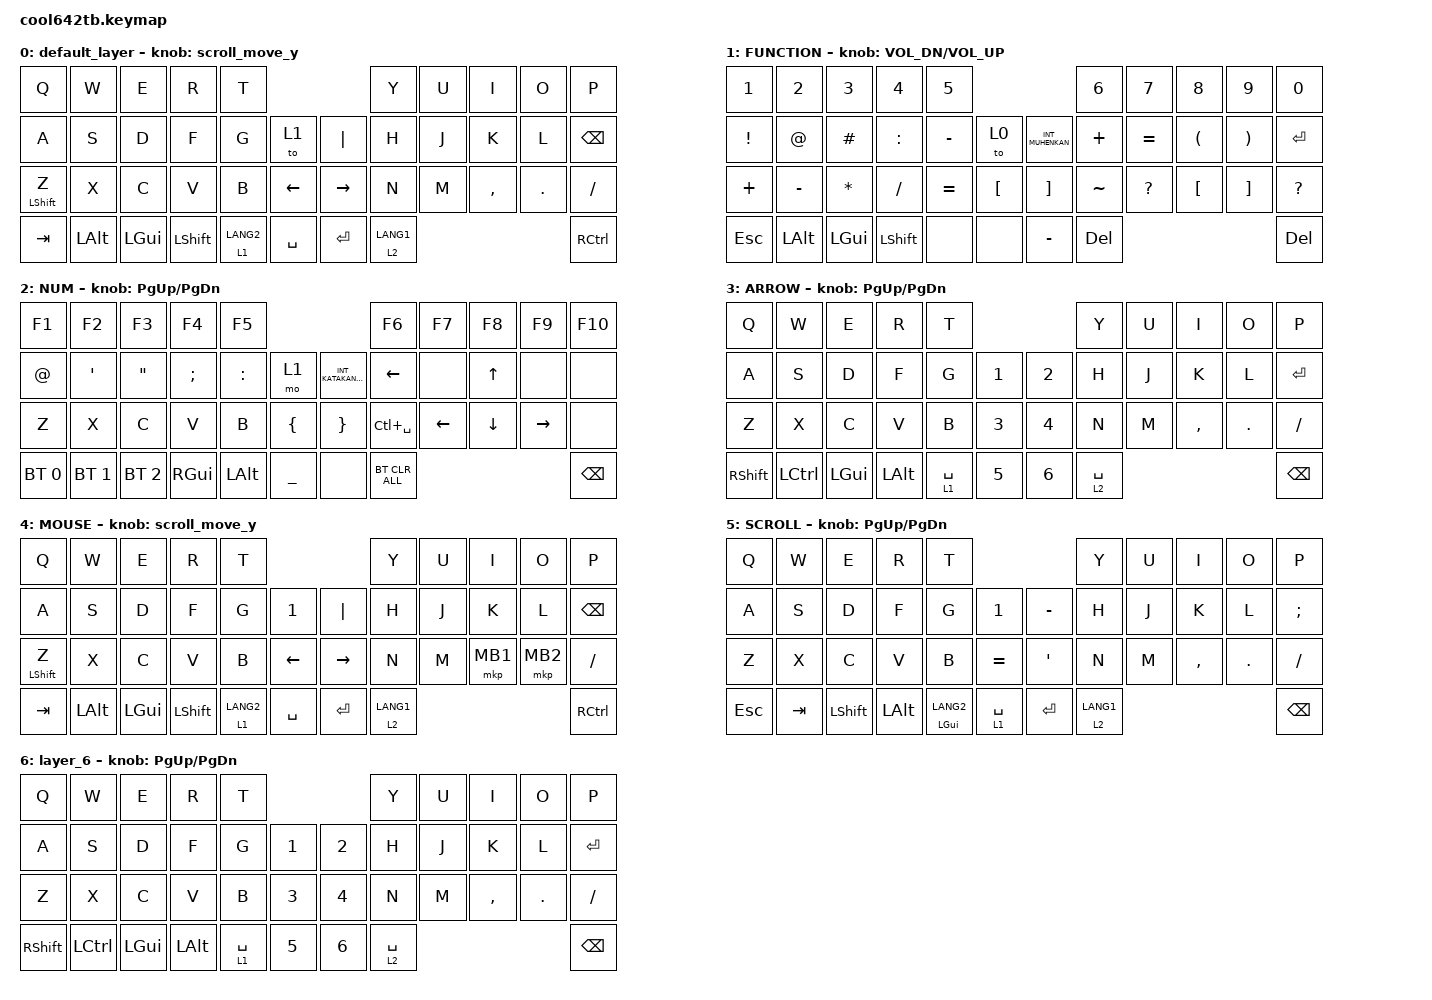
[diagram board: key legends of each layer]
#include <behaviors.dtsi>
#include <dt-bindings/zmk/bt.h>
#include <dt-bindings/zmk/keys.h>
#include <dt-bindings/zmk/pointing.h>

#define ZMK_MOUSE_DEFAULT_SCRL_VAL 100
#define MOUSE 4
#define SCROLL 5
#define NUM 6

&mt {
    flavor = "balanced";
    quick-tap-ms = <0>;
};

/ {
    combos {
        compatible = "zmk,combos";

        comb1 {
            bindings = <&kp TAB>;
            key-positions = <11 10>;
        };

        comb2 {
            bindings = <&kp LS(ESCAPE)>;
            key-positions = <0 1>;
        };

        comb3 {
            bindings = <&kp CAPSLOCK>;
            key-positions = <22 23>;
        };

        comb4 {
            bindings = <&kp BACKSPACE>;
            key-positions = <9 8>;
        };

        comb5 {
            bindings = <&bt BT_CLR_ALL>;
            key-positions = <9 8>;
            timeout-ms = <0>;
            layers = <2>;
        };

        MS_BTN1_ {
            bindings = <&mkp MB1>;
            key-positions = <38 39>;
        };

        MS_BTN2_ {
            bindings = <&mkp MB2>;
            key-positions = <38 37>;
        };
    };

    macros {
        to_layer_0: to_layer_0 {
            compatible = "zmk,behavior-macro-one-param";
            #binding-cells = <1>;
            bindings = <&to 0 &macro_param_1to1 &kp MACRO_PLACEHOLDER>;
            label = "TO_LAYER_0";
        };
    };

    behaviors {
        lt_to_layer_0: lt_to_layer_0 {
            compatible = "zmk,behavior-hold-tap";
            label = "LAYER_TAP_TO_0";
            bindings = <&mo>, <&to_layer_0>;

            #binding-cells = <2>;
            tapping-term-ms = <200>;
        };

        scroll_up_down: behavior_sensor_rotate_mouse_wheel_up_down {
            compatible = "zmk,behavior-sensor-rotate";
            #sensor-binding-cells = <0>;
            bindings = <&msc SCRL_UP>, <&msc SCRL_DOWN>;

            tap-ms = <20>;
        };
    };

    // エンコーダー：キー

    rot_kp: sensor_rotate_kp {
        compatible = "zmk,behavior-sensor-rotate-var";
        #sensor-binding-cells = <2>;
        bindings = <&kp>, <&kp>;
    };

    // エンコーダー：マウススクロール 

    rot_msc: sensor_rotate_msc {
        compatible = "zmk,behavior-sensor-rotate-var";
        #sensor-binding-cells = <2>;
        tap-ms = <20>;
        bindings = <&msc>, <&msc>;
    };

    // エンコーダー：マウススクロール(MOVE_Y)

    scroll_move_y: sensor_rotate_msc_for_move_y {
        compatible = "zmk,behavior-sensor-rotate";
        #sensor-binding-cells = <0>;
        bindings = <&msc MOVE_Y(25)>, <&msc MOVE_Y(-25)>;

        // tap-ms下限メモ Yの値で可変: Y(15) <81>, Y(20) <65>, Y(25) <49>

        tap-ms = <50>;
    };

    // エンコーダー：マウススクロール(MOVE_X)

    scroll_move_x: sensor_rotate_msc_for_move_x {
        compatible = "zmk,behavior-sensor-rotate";
        #sensor-binding-cells = <0>;
        bindings = <&msc MOVE_X(25)>, <&msc MOVE_X(-25)>;

        // tap-ms下限メモ Xの値で可変: X(15) <81>, X(20) <65>, X(25) <49>

        tap-ms = <50>;
    };

    keymap {
        compatible = "zmk,keymap";

        default_layer {
            bindings = <
&kp Q             &kp W         &kp E         &kp R           &kp T                                         &kp Y        &kp U  &kp I      &kp O       &kp P
&kp A             &kp S         &kp D         &kp F           &kp G        &to 1           &kp PIPE         &kp H        &kp J  &kp K      &kp L       &kp BACKSPACE
&mt LEFT_SHIFT Z  &kp X         &kp C         &kp V           &kp B        &kp LEFT_ARROW  &kp RIGHT_ARROW  &kp N        &kp M  &kp COMMA  &kp PERIOD  &kp SLASH
&kp TAB           &kp LEFT_ALT  &kp LEFT_GUI  &kp LEFT_SHIFT  &lt 1 LANG2  &kp SPACE       &kp RETURN       &lt 2 LANG1                                &kp RCTRL
            >;

            sensor-bindings = <&scroll_move_y>;
        };

        FUNCTION {
            bindings = <
&kp N1           &kp N2        &kp N3        &kp N4          &kp N5                                          &kp N6     &kp N7        &kp N8                &kp N9                 &kp N0
&kp EXCLAMATION  &kp AT_SIGN   &kp HASH      &kp COLON       &kp MINUS  &to 0             &kp INT_MUHENKAN   &kp PLUS   &kp EQUAL     &kp LEFT_PARENTHESIS  &kp RIGHT_PARENTHESIS  &kp ENTER
&kp PLUS         &kp MINUS     &kp ASTERISK  &kp SLASH       &kp EQUAL  &kp LEFT_BRACKET  &kp RIGHT_BRACKET  &kp TILDE  &kp QUESTION  &kp LEFT_BRACKET      &kp RIGHT_BRACKET      &kp QUESTION
&kp ESCAPE       &kp LEFT_ALT  &kp LEFT_GUI  &kp LEFT_SHIFT  &none      &none             &kp MINUS          &kp DEL                                                               &kp DELETE
            >;

            sensor-bindings = <&inc_dec_kp C_VOL_DN C_VOL_UP>;
        };

        NUM {
            bindings = <
&kp F1        &kp F2        &kp F3             &kp F4         &kp F5                                                  &kp F6          &kp F7    &kp F8          &kp F9     &kp F10
&kp AT_SIGN   &kp SQT       &kp DOUBLE_QUOTES  &kp SEMICOLON  &kp COLON     &mo 1           &kp INT_KATAKANAHIRAGANA  &kp LEFT        &none     &kp UP_ARROW    &none      &none
&kp Z         &kp X         &kp C              &kp V          &kp B         &kp LEFT_BRACE  &kp RIGHT_BRACE           &kp LC(SPACE)   &kp LEFT  &kp DOWN_ARROW  &kp RIGHT  &none
&bt BT_SEL 0  &bt BT_SEL 1  &bt BT_SEL 2       &kp RGUI       &kp LEFT_ALT  &kp UNDERSCORE  &none                     &bt BT_CLR_ALL                                       &kp BSPC
            >;

            sensor-bindings = <&inc_dec_kp PG_UP PAGE_DOWN>;
        };

        ARROW {
            bindings = <
&kp Q       &kp W      &kp E     &kp R     &kp T                        &kp Y        &kp U  &kp I      &kp O       &kp P
&kp A       &kp S      &kp D     &kp F     &kp G        &kp N1  &kp N2  &kp H        &kp J  &kp K      &kp L       &kp ENTER
&kp Z       &kp X      &kp C     &kp V     &kp B        &kp N3  &kp N4  &kp N        &kp M  &kp COMMA  &kp PERIOD  &kp SLASH
&kp RSHIFT  &kp LCTRL  &kp LGUI  &kp LALT  &lt 1 SPACE  &kp N5  &kp N6  &lt 2 SPACE                                &kp BSPC
            >;

            sensor-bindings = <&inc_dec_kp PG_UP PAGE_DOWN>;
        };

        MOUSE {
            bindings = <
&kp Q             &kp W         &kp E         &kp R           &kp T                                         &kp Y        &kp U  &kp I     &kp O     &kp P
&kp A             &kp S         &kp D         &kp F           &kp G        &kp N1          &kp PIPE         &kp H        &kp J  &kp K     &kp L     &kp BACKSPACE
&mt LEFT_SHIFT Z  &kp X         &kp C         &kp V           &kp B        &kp LEFT_ARROW  &kp RIGHT_ARROW  &kp N        &kp M  &mkp MB1  &mkp MB2  &kp SLASH
&kp TAB           &kp LEFT_ALT  &kp LEFT_GUI  &kp LEFT_SHIFT  &lt 1 LANG2  &kp SPACE       &kp RETURN       &lt 2 LANG1                             &kp RCTRL
            >;

            sensor-bindings = <&scroll_move_y>;
        };

        SCROLL {
            bindings = <
&kp Q       &kp W    &kp E           &kp R         &kp T                                              &kp Y        &kp U  &kp I      &kp O       &kp P
&kp A       &kp S    &kp D           &kp F         &kp G               &kp N1       &kp MINUS         &kp H        &kp J  &kp K      &kp L       &kp SEMICOLON
&kp Z       &kp X    &kp C           &kp V         &kp B               &kp EQUAL    &kp SINGLE_QUOTE  &kp N        &kp M  &kp COMMA  &kp PERIOD  &kp SLASH
&kp ESCAPE  &kp TAB  &kp LEFT_SHIFT  &kp LEFT_ALT  &mt LEFT_GUI LANG2  &lt 1 SPACE  &kp RETURN        &lt 2 LANG1                                &kp BSPC
            >;

            sensor-bindings = <&inc_dec_kp PG_UP PAGE_DOWN>;
        };

        layer_6 {
            bindings = <
&kp Q       &kp W      &kp E     &kp R     &kp T                        &kp Y        &kp U  &kp I      &kp O       &kp P
&kp A       &kp S      &kp D     &kp F     &kp G        &kp N1  &kp N2  &kp H        &kp J  &kp K      &kp L       &kp ENTER
&kp Z       &kp X      &kp C     &kp V     &kp B        &kp N3  &kp N4  &kp N        &kp M  &kp COMMA  &kp PERIOD  &kp SLASH
&kp RSHIFT  &kp LCTRL  &kp LGUI  &kp LALT  &lt 1 SPACE  &kp N5  &kp N6  &lt 2 SPACE                                &kp BSPC
            >;

            sensor-bindings = <&inc_dec_kp PG_UP PAGE_DOWN>;
        };
    };
};
